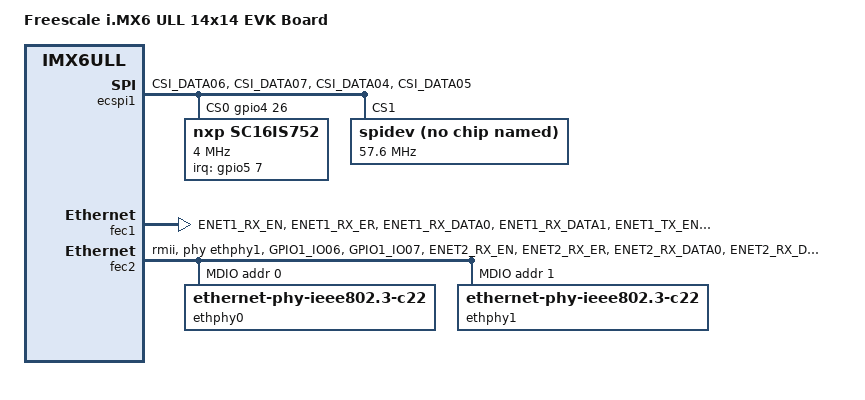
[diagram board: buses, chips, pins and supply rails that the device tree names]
/*
 * Copyright (C) 2017 MYiR Technology Company
 *
 * This program is free software; you can redistribute it and/or modify
 * it under the terms of the GNU General Public License version 2 as
 * published by the Free Software Foundation.
 */

#include "imx6ull-pinfunc-snvs.h"
&iomuxc {
	imx6ul-evk {
		pinctrl_enet1_alt: enet1grp {
			fsl,pins = <
				MX6UL_PAD_ENET1_RX_EN__ENET1_RX_EN	0x1b0b0
				MX6UL_PAD_ENET1_RX_ER__ENET1_RX_ER	0x1b0b0
				MX6UL_PAD_ENET1_RX_DATA0__ENET1_RDATA00	0x1b0b0
				MX6UL_PAD_ENET1_RX_DATA1__ENET1_RDATA01	0x1b0b0
				MX6UL_PAD_ENET1_TX_EN__ENET1_TX_EN	0x1b0b0
				MX6UL_PAD_ENET1_TX_DATA0__ENET1_TDATA00	0x1b0b0
				MX6UL_PAD_ENET1_TX_DATA1__ENET1_TDATA01	0x1b0b0
				MX6UL_PAD_ENET1_TX_CLK__ENET1_REF_CLK1	0x4001b031
			>;
		};
        
		pinctrl_enet2_alt: enet2grp {
			fsl,pins = <
				MX6UL_PAD_GPIO1_IO06__ENET2_MDIO	0x1b0b0
				MX6UL_PAD_GPIO1_IO07__ENET2_MDC		0x1b0b0
				MX6UL_PAD_ENET2_RX_EN__ENET2_RX_EN	0x1b0b0
				MX6UL_PAD_ENET2_RX_ER__ENET2_RX_ER	0x1b0b0
				MX6UL_PAD_ENET2_RX_DATA0__ENET2_RDATA00	0x1b0b0
				MX6UL_PAD_ENET2_RX_DATA1__ENET2_RDATA01	0x1b0b0
				MX6UL_PAD_ENET2_TX_EN__ENET2_TX_EN	0x1b0b0
				MX6UL_PAD_ENET2_TX_DATA0__ENET2_TDATA00	0x1b0b0
				MX6UL_PAD_ENET2_TX_DATA1__ENET2_TDATA01	0x1b0b0
				MX6UL_PAD_ENET2_TX_CLK__ENET2_REF_CLK2	0x4001b031
			>;
		};

		/*
		    * The same pins GPIO1_IO6 and GPIO_IO7 are shared as the MII
		    * bus of ENET1 and ENET2. If both interfaces are enabled, the
		    * IOMUX of ENET2 will apply.
		    * If only one interface is enabled, the IOMUX of the enabled
		    * interface will apply.
		    */
		pinctrl_enet1_mdio: mdioenet1grp {
			fsl,pins = <
				MX6UL_PAD_GPIO1_IO07__ENET1_MDC		0x1b0b0
				MX6UL_PAD_GPIO1_IO06__ENET1_MDIO	0x1b0b0
			>;
		};

		pinctrl_enet2_mdio: mdioenet2grp {
			fsl,pins = <
				MX6UL_PAD_GPIO1_IO07__ENET2_MDC		0x1b0b0
				MX6UL_PAD_GPIO1_IO06__ENET2_MDIO	0x1b0b0
			>;
		};

		pinctrl_enet1_gpio: enet1gpiogrp {
			fsl,pins = <
				/* PHY reset */
				MX6UL_PAD_SNVS_TAMPER6__GPIO5_IO06	0x1b0b0
				/* ENET1_INT */
				MX6UL_PAD_SNVS_TAMPER5__GPIO5_IO05	0x1b0b0
			>;
		};

		pinctrl_enet2_gpio: enet2gpiogrp {
			fsl,pins = <
				/* PHY reset */
				MX6UL_PAD_SNVS_TAMPER8__GPIO5_IO08	0x1b0b0
			>;
		};

		pinctrl_ecspi1_cs_1: ecspi1_cs_grp-1 {
			fsl,pins = <
				MX6UL_PAD_CSI_DATA05__GPIO4_IO26  0x10b0
			>;
		};

		pinctrl_ecspi1_1: ecspi1grp-1 {
			fsl,pins = <
				MX6UL_PAD_CSI_DATA06__ECSPI1_MOSI 0x10b0
				MX6UL_PAD_CSI_DATA07__ECSPI1_MISO 0x10b0
				MX6UL_PAD_CSI_DATA04__ECSPI1_SCLK 0x10b0
			>;
		};
    };
};

&iomuxc_snvs {
	pinctrl-names = "default_snvs";
	imx6ull-board {
	pinctrl-0 = <&init_gpio_pinsSnvs>;
		init_gpio_pinsSnvs: init_gpio_pinsSnvsGrp {        /*!< Function assigned for the core: Cortex-A7[ca7] */
			fsl,pins = <
				MX6ULL_PAD_SNVS_TAMPER7__GPIO5_IO07        0x0000F0B0
			>;
		};
	};
};

&ecspi1 {
	fsl,spi-num-chipselects = <1>;
	cs-gpios = <&gpio4 26 0>;
	pinctrl-names = "default";
	pinctrl-0 = <&pinctrl_ecspi1_1 &pinctrl_ecspi1_cs_1>;
	status = "okay";

	sc16is752: sc16is752@0 {
		compatible = "nxp,sc16is752";
		reg = <0>;
		spi-max-frequency = <4000000>;
		clocks = <&sc16is752_clk>;
		interrupt-parent = <&gpio5>;
		interrupts = <7 IRQ_TYPE_EDGE_FALLING>;
		gpio-controller;
		#gpio-cells = <2>;
		sc16is752_clk: sc16is752_clk {
			compatible = "fixed-clock";
			#clock-cells = <0>;
			clock-frequency = <1843200>;
		};
	};

	spidev@1{
		compatible = "linux,spidev";
		reg = <1>;
		spi-max-frequency = <57600000>;
	};
};

&fec1 {
	pinctrl-names = "default";
	pinctrl-0 = <&pinctrl_enet1_alt>, <&pinctrl_enet1_gpio>;
	phy-reset-gpios = <&gpio5 6 GPIO_ACTIVE_LOW>;
	phy-reset-duration = <26>;
	phy-reset-post-delay=<20>;
	status = "okay";
	/delete-node/ mdio;
};

&fec2 {
	pinctrl-names = "default";
	pinctrl-0 = <&pinctrl_enet2_alt>, <&pinctrl_enet2_mdio>, <&pinctrl_enet2_gpio>;
	phy-mode = "rmii";
	phy-handle = <&ethphy1>;
	phy-reset-gpios = <&gpio5 8 GPIO_ACTIVE_LOW>;
	phy-reset-duration = <26>;
	phy-reset-post-delay=<20>;
	status = "okay";

	mdio {
		#address-cells = <1>;
		#size-cells = <0>;

		ethphy0: ethernet-phy@0 {
			compatible = "ethernet-phy-ieee802.3-c22";
			reg = <0>;
		};
		ethphy1: ethernet-phy@1 {
			compatible = "ethernet-phy-ieee802.3-c22";
			reg = <1>;
		};
	};
};

/ {
	model = "Freescale i.MX6 ULL 14x14 EVK Board";
	compatible = "fsl,imx6ull-14x14-evk", "fsl,imx6ull";
};
